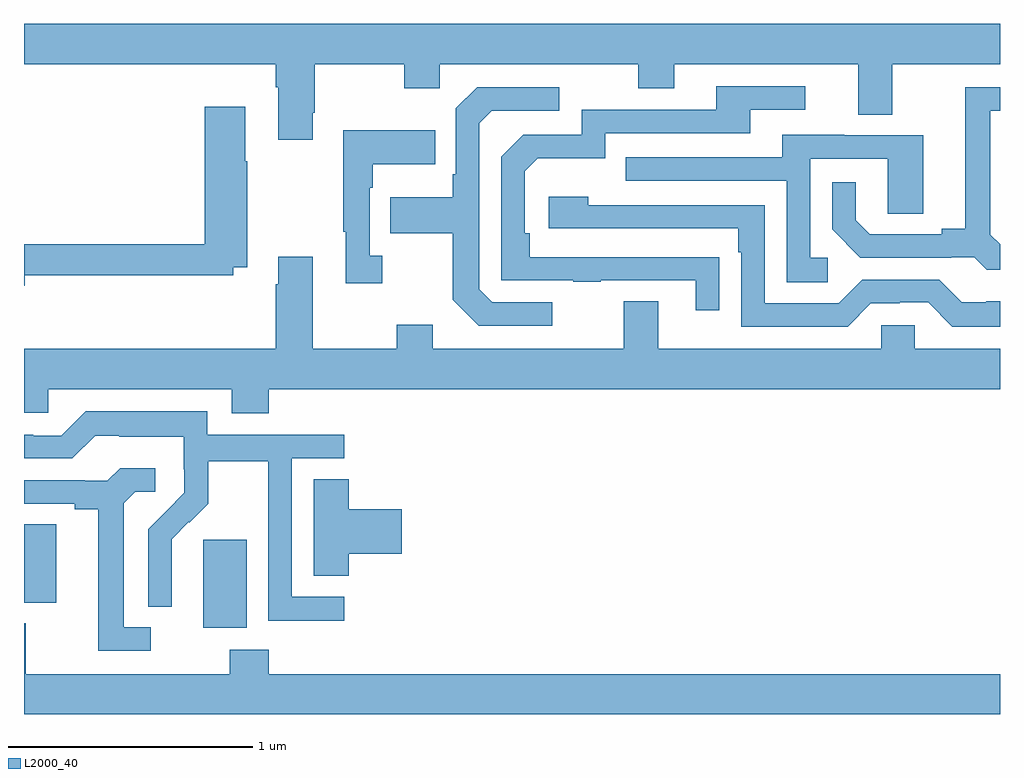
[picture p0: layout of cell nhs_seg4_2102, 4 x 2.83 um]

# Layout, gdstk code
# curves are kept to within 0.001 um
import gdstk
lib = gdstk.Library(unit=1e-6, precision=1e-09)
def R(c, l, rs):  # rectangles x0, y0, x1, y1
    for r in rs: c.add(gdstk.rectangle(r[:2], r[2:], *l))
def P(c, l, *ps):  # polygons
    for p in ps: c.add(gdstk.Polygon(p, *l))
L2000_40 = (2000, 40)

nhs_seg4_2102 = lib.new_cell('nhs_seg4_2102')
R(nhs_seg4_2102, L2000_40, [(219.734,803.834,219.913,804.195), (219,803.937,219.133,804.257)])
P(nhs_seg4_2102, L2000_40, [(220.183,805.945),(220.191,805.945),(220.191,806.144),(220.558,806.144),(220.558,806.045),(220.704,806.045),(220.704,806.144),(221.518,806.144),(221.518,806.045),(221.665,806.045),(221.665,806.144),(222.419,806.144),(222.419,805.936),(222.559,805.936),(222.559,806.144),(223,806.144),(223,806.308),(219,806.308),(219,806.144),(220.031,806.144),(220.031,806.048),(220.043,806.048),(220.043,805.833),(220.183,805.833)],
  [(221.849,805.352),(221.072,805.353),(221.072,805.45),(221.052,805.45),(221.052,805.704),(221.105,805.757),(221.382,805.757),(221.382,805.86),(221.977,805.86),(221.977,805.956),(222.202,805.956),(222.202,806.052),(221.837,806.052),(221.837,805.956),(221.286,805.956),(221.286,805.854),(221.046,805.854),(220.956,805.764),(220.956,805.257),(221.251,805.257),(221.251,805.252),(221.363,805.252),(221.363,805.257),(221.753,805.257),(221.753,805.134),(221.849,805.134)],
  [(221.164,805.167),(220.92,805.167),(220.866,805.221),(220.866,805.902),(220.917,805.953),(221.194,805.953),(221.194,806.049),(220.857,806.049),(220.77,805.962),(220.77,805.693),(220.758,805.693),(220.758,805.597),(220.501,805.597),(220.501,805.45),(220.758,805.45),(220.758,805.177),(220.863,805.071),(221.164,805.071)],
  [(223,805.406),(222.961,805.445),(222.961,805.953),(223,805.953),(223,806.049),(222.857,806.049),(222.857,805.469),(222.761,805.469),(222.761,805.446),(222.466,805.446),(222.409,805.503),(222.409,805.66),(222.312,805.66),(222.312,805.466),(222.428,805.35),(222.8,805.35),(222.8,805.353),(222.894,805.353),(222.946,805.301),(223,805.301)],
  [(219.004,805.278),(219.858,805.278),(219.858,805.31),(219.915,805.31),(219.915,805.745),(219.907,805.745),(219.907,805.969),(219.74,805.969),(219.74,805.406),(219,805.406),(219,805.235),(219.004,805.235)],
  [(220.468,805.358),(220.416,805.358),(220.416,805.637),(220.429,805.637),(220.429,805.733),(220.685,805.733),(220.685,805.873),(220.308,805.873),(220.308,805.457),(220.319,805.457),(220.319,805.245),(220.468,805.245)],
  [(222.295,805.35),(222.222,805.35),(222.222,805.755),(222.54,805.755),(222.54,805.531),(222.685,805.531),(222.685,805.851),(222.361,805.851),(222.361,805.855),(222.107,805.855),(222.107,805.761),(221.467,805.761),(221.467,805.665),(222.126,805.665),(222.126,805.249),(222.295,805.249)],
  [(223,805.171),(222.943,805.171),(222.943,805.167),(222.843,805.167),(222.75,805.26),(222.435,805.26),(222.339,805.164),(222.036,805.164),(222.036,805.566),(221.312,805.566),(221.312,805.6),(221.151,805.6),(221.151,805.47),(221.927,805.47),(221.927,805.373),(221.94,805.373),(221.94,805.068),(222.375,805.068),(222.471,805.164),(222.59,805.164),(222.59,805.167),(222.705,805.167),(222.805,805.067),(223,805.067)],
  [(220.004,804.812),(223,804.812),(223,804.976),(222.651,804.976),(222.651,805.074),(222.513,805.074),(222.513,804.976),(221.599,804.976),(221.599,805.171),(221.459,805.171),(221.459,804.976),(220.675,804.976),(220.675,805.075),(220.528,805.075),(220.528,804.976),(220.183,804.976),(220.183,805.354),(220.043,805.354),(220.043,805.241),(220.031,805.241),(220.031,804.976),(219,804.976),(219,804.714),(219.099,804.714),(219.099,804.812),(219.851,804.812),(219.851,804.713),(220.004,804.713)],
  [(220.312,803.961),(220.098,803.961),(220.098,804.528),(220.312,804.528),(220.312,804.624),(219.75,804.624),(219.75,804.721),(219.253,804.721),(219.153,804.621),(219.038,804.621),(219.038,804.624),(219,804.624),(219,804.528),(219.198,804.528),(219.291,804.621),(219.391,804.621),(219.391,804.617),(219.654,804.617),(219.654,804.483),(219.656,804.483),(219.656,804.386),(219.51,804.238),(219.51,803.92),(219.606,803.92),(219.605,804.197),(219.675,804.267),(219.678,804.264),(219.755,804.341),(219.755,804.516),(220,804.516),(220,804.292),(220.002,804.292),(220.002,803.863),(220.312,803.863)],
  [(219.52,803.835),(219.409,803.835),(219.409,804.343),(219.456,804.39),(219.538,804.39),(219.538,804.487),(219.394,804.487),(219.342,804.435),(219.248,804.435),(219.248,804.438),(219,804.438),(219,804.342),(219.209,804.342),(219.209,804.32),(219.305,804.32),(219.305,803.739),(219.52,803.739)],
  [(220.331,804.137),(220.549,804.137),(220.549,804.32),(220.331,804.32),(220.331,804.443),(220.187,804.443),(220.187,804.046),(220.331,804.046)],
  [(223,803.644),(220.004,803.644),(220.004,803.743),(219.844,803.743),(219.844,803.644),(219.007,803.644),(219.007,803.852),(219,803.852),(219,803.48),(223,803.48)])

lib.write_gds('nhs_seg4_2102.gds')
